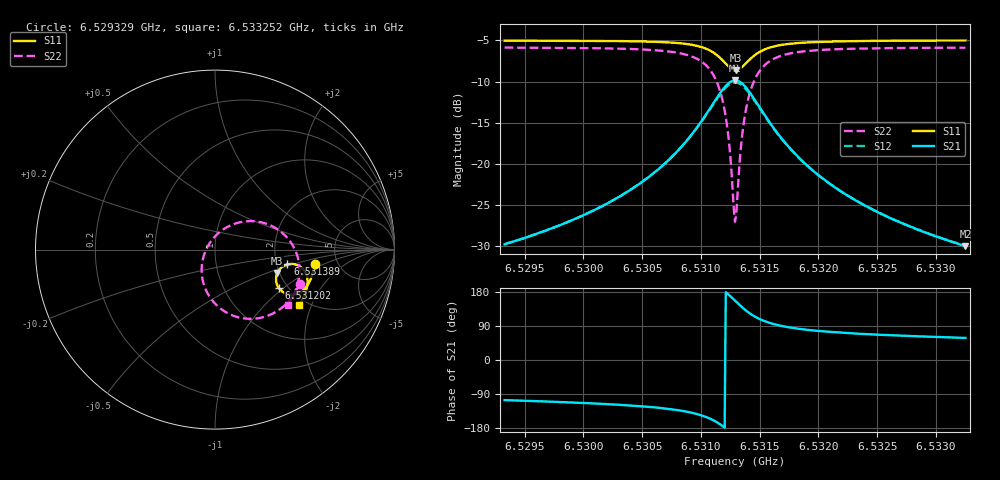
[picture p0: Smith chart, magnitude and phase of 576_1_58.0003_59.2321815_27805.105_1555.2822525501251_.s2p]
#  HZ  S  RI  R  50.00
! Rohde & Schwarz Vector Network Analyzer
! Rohde-Schwarz,ZNB20-2Port,1311601062101988,3.16
! Created: UTC 3/21/2024, 1:16:06 AM
! freq[Hz]  re:S11  im:S11  re:S21  im:S21  re:S12  im:S12  re:S22  im:S22
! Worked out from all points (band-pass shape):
!   401 points, 6.529329 GHz to 6.533252 GHz, reference 50 ohm
!   highest |S21| = -9.85 dB at 6.53129 GHz (marker M1); lowest = -30.0 dB at 6.533252 GHz (marker M2)
!   |S21| within 3 dB of the highest: 6.531096 GHz to 6.531488 GHz (391.9 kHz wide, 0.006 % of centre)
!   lowest |S11| = -8.6 dB at 6.5313 GHz (marker M3), VSWR 2.18, Z = 97.3 - j29.4 ohm
!   |S11| at or under -10 dB: nowhere
!   |S22| runs from -27.0 to -5.9 dB; largest |S21 - S12| = 0.013
!   S11 on the Smith chart (normalised r, x): 6.529329 GHz: 3.34, -0.80; 6.531202 GHz: 1.80, -0.92; 6.531389 GHz: 2.29, -0.45; 6.533252 GHz: 1.82, -1.64
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6.5293288e9  0.5547 -0.082  -0.00893 -0.0312  -0.00951 -0.0312  0.471 -0.1921
6.529986e9  0.5424 -0.1371  -0.0191 -0.0443  -0.0201 -0.044  0.4376 -0.2532
6.5303489e9  0.5301 -0.1713  -0.0321 -0.0577  -0.0336 -0.057  0.4035 -0.2955
6.5306431e9  0.5118 -0.2034  -0.0552 -0.0755  -0.0573 -0.0738  0.3514 -0.3396
6.5308687e9  0.4832 -0.2326  -0.0971 -0.0946  -0.1001 -0.0912  0.267 -0.3772
6.5310355e9  0.437 -0.2503  -0.1685 -0.0994  -0.1706 -0.0923  0.1366 -0.3787
6.5311336e9  0.3904 -0.2429  -0.2403 -0.0699  -0.2388 -0.0598  0.0167 -0.3169
6.5312022e9  0.3548 -0.2128  -0.2923 -0.00746  -0.2855 0.00287  -0.0594 -0.2028
6.5312316e9  0.344 -0.1911  -0.3055 0.0333  -0.296 0.042  -0.0738 -0.1333
6.5312709e9  0.3403 -0.1565  -0.305 0.0958  -0.2933 0.101  -0.0618 -0.0313
6.5312905e9  0.344 -0.1386  -0.2955 0.127  -0.2834 0.1301  -0.0408 0.018
6.5313003e9  0.3473 -0.1302  -0.2882 0.1418  -0.2764 0.1437  -0.0267 0.0408
6.5313101e9  0.3515 -0.1221  -0.2798 0.1557  -0.268 0.1567  -0.0104 0.0621
6.5313493e9  0.3749 -0.096  -0.2353 0.2  -0.2254 0.1976  0.0698 0.1268
6.5313886e9  0.4037 -0.0822  -0.1833 0.2231  -0.1763 0.2191  0.1591 0.1559
6.5314572e9  0.4492 -0.0831  -0.1041 0.223  -0.1006 0.2193  0.2912 0.142
6.5315553e9  0.4884 -0.1067  -0.0371 0.1885  -0.0354 0.1866  0.3992 0.0694
6.5317024e9  0.5105 -0.1443  0.00261 0.1385  0.00387 0.1376  0.4573 -0.0307
6.5319477e9  0.5152 -0.1887  0.0186 0.09  0.0198 0.0896  0.4703 -0.1313
6.5322321e9  0.5089 -0.2237  0.0208 0.062  0.0218 0.0616  0.4594 -0.1959
6.5326048e9  0.4964 -0.2586  0.0196 0.0428  0.0203 0.0427  0.44 -0.2482
6.5332522e9  0.4706 -0.3077  0.0167 0.0269  0.0172 0.0267  0.4052 -0.3067
